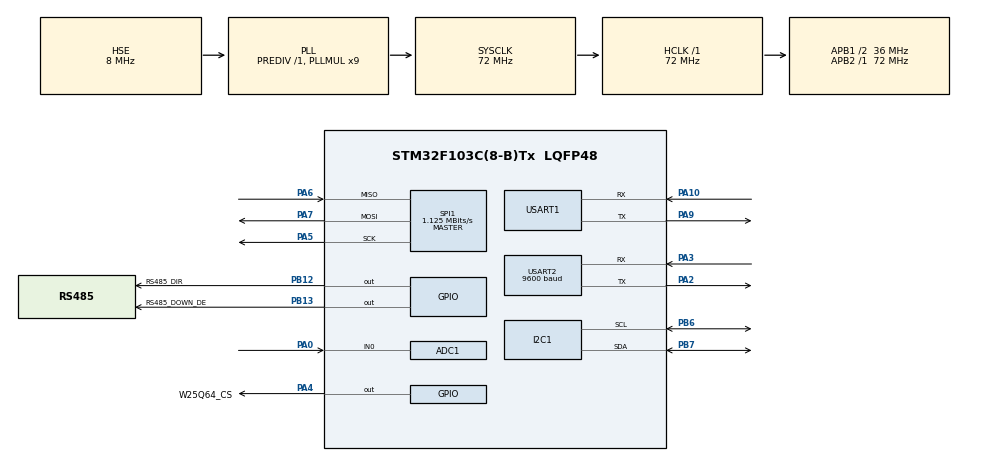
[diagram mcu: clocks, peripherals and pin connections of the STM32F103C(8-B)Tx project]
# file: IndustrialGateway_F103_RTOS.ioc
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ADC1.Channel-1\#ChannelRegularConversion=ADC_CHANNEL_0
ADC1.NbrOfConversionFlag=1
ADC1.Rank-1\#ChannelRegularConversion=1
ADC1.SamplingTime-1\#ChannelRegularConversion=ADC_SAMPLETIME_55CYCLES_5
ADC1.master=1
Dma.Request0=USART1_RX
Dma.USART1_RX.0.Direction=DMA_PERIPH_TO_MEMORY
Dma.USART1_RX.0.Instance=DMA1_Channel5
Dma.USART1_RX.0.MemDataAlignment=DMA_MDATAALIGN_BYTE
Dma.USART1_RX.0.MemInc=DMA_MINC_ENABLE
Dma.USART1_RX.0.Mode=DMA_NORMAL
Dma.USART1_RX.0.PeriphDataAlignment=DMA_PDATAALIGN_BYTE
Dma.USART1_RX.0.PeriphInc=DMA_PINC_DISABLE
Dma.USART1_RX.0.Priority=DMA_PRIORITY_LOW
FREERTOS.Tasks01=defaultTask,24,128,StartDefaultTask,Default,NULL,Dynamic,NULL,NULL;SensorTask,24,128,StartSensorTask,Default,NULL,Dynamic,NULL,NULL;DisplayTask,24,256,StartDisplayTask,Default,NULL,Dynamic,NULL,NULL;CommTask,24,256,StartCommTask,Default,NULL,Dynamic,NULL,NULL;LogTask,8,256,StartLogTask,Default,NULL,Dynamic,NULL,NULL
FREERTOS.configTOTAL_HEAP_SIZE=8192
Mcu.Family=STM32F1
Mcu.Name=STM32F103C(8-B)Tx
Mcu.Package=LQFP48
NVIC.DMA1_Channel5_IRQn=true\:5\:0\:false\:false\:true\:true\:false\:true\:true
NVIC.PriorityGroup=NVIC_PRIORITYGROUP_4
NVIC.TIM4_IRQn=true\:15\:0\:false\:false\:true\:false\:false\:true\:true
NVIC.TimeBase=TIM4_IRQn
NVIC.TimeBaseIP=TIM4
NVIC.USART1_IRQn=true\:5\:0\:false\:false\:true\:true\:true\:true\:true
PA0-WKUP.Signal=ADCx_IN0
PA10.Mode=Asynchronous
PA10.Signal=USART1_RX
PA13.Mode=Serial_Wire
PA13.Signal=SYS_JTMS-SWDIO
PA14.Mode=Serial_Wire
PA14.Signal=SYS_JTCK-SWCLK
PA2.Mode=Asynchronous
PA2.Signal=USART2_TX
PA3.Mode=Asynchronous
PA3.Signal=USART2_RX
PA4.GPIO_Label=W25Q64_CS
PA4.GPIO_Speed=GPIO_SPEED_FREQ_LOW
PA4.PinState=GPIO_PIN_SET
PA4.Signal=GPIO_Output
PA5.Mode=Full_Duplex_Master
PA5.Signal=SPI1_SCK
PA6.Mode=Full_Duplex_Master
PA6.Signal=SPI1_MISO
PA7.Mode=Full_Duplex_Master
PA7.Signal=SPI1_MOSI
PA9.Mode=Asynchronous
PA9.Signal=USART1_TX
PB12.GPIO_Label=RS485_DIR
PB12.GPIO_ModeDefaultOutputPP=GPIO_MODE_OUTPUT_PP
PB12.Signal=GPIO_Output
PB13.GPIO_Label=RS485_DOWN_DE
PB13.Signal=GPIO_Output
PB6.Mode=I2C
PB6.Signal=I2C1_SCL
PB7.Mode=I2C
PB7.Signal=I2C1_SDA
PD0-OSC_IN.Mode=HSE-External-Oscillator
PD0-OSC_IN.Signal=RCC_OSC_IN
PD1-OSC_OUT.Mode=HSE-External-Oscillator
PD1-OSC_OUT.Signal=RCC_OSC_OUT
ProjectManager.HeapSize=0x200
ProjectManager.StackSize=0x400
ProjectManager.TargetToolchain=MDK-ARM V5.32
RCC.ADCPresc=RCC_ADCPCLK2_DIV6
RCC.AHBFreq_Value=72000000
RCC.APB1CLKDivider=RCC_HCLK_DIV2
RCC.APB1Freq_Value=36000000
RCC.APB1TimFreq_Value=72000000
RCC.APB2Freq_Value=72000000
RCC.APB2TimFreq_Value=72000000
RCC.HCLKFreq_Value=72000000
RCC.PLLMUL=RCC_PLL_MUL9
RCC.PLLSourceVirtual=RCC_PLLSOURCE_HSE
RCC.SYSCLKFreq_VALUE=72000000
RCC.SYSCLKSource=RCC_SYSCLKSOURCE_PLLCLK
RCC.USBFreq_Value=72000000
SH.ADCx_IN0.0=ADC1_IN0,IN0
SPI1.BaudRatePrescaler=SPI_BAUDRATEPRESCALER_64
SPI1.CalculateBaudRate=1.125 MBits/s
SPI1.Direction=SPI_DIRECTION_2LINES
SPI1.Mode=SPI_MODE_MASTER
SPI1.VirtualType=VM_MASTER
USART1.VirtualMode=VM_ASYNC
USART2.BaudRate=9600
USART2.VirtualMode=VM_ASYNC
VP_FREERTOS_VS_CMSIS_V2.Mode=CMSIS_V2
VP_SYS_VS_tim4.Mode=TIM4
board=custom

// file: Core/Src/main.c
/* USER CODE BEGIN Header */
/**
  ******************************************************************************
  * @file           : main.c
  * @brief          : Main program body
  ******************************************************************************
  * @attention
  *
  * Copyright (c) 2026 STMicroelectronics.
  * All rights reserved.
  *
  * This software is licensed under terms that can be found in the LICENSE file
  * in the root directory of this software component.
  * If no LICENSE file comes with this software, it is provided AS-IS.
  *
  ******************************************************************************
  */
/* USER CODE END Header */
#include "main.h"
#include "cmsis_os.h"
#include "adc.h"
#include "dma.h"
#include "i2c.h"
#include "spi.h"
#include "usart.h"
#include "gpio.h"

/* USER CODE BEGIN Includes */
#include "bsp_oled.h"
#include "bsp_w25q64.h"
#include "log_app.h"
/* USER CODE END Includes */

void SystemClock_Config(void);
void MX_FREERTOS_Init(void);

int main(void)
{

  /* MCU Configuration--------------------------------------------------------*/

  /* Reset of all peripherals, Initializes the Flash interface and the Systick. */
  HAL_Init();

  /* Configure the system clock */
  SystemClock_Config();

  /* Initialize all configured peripherals */
  MX_GPIO_Init();
  MX_DMA_Init();
  MX_I2C1_Init();
  MX_USART1_UART_Init();
  MX_ADC1_Init();
  MX_SPI1_Init();
  MX_USART2_UART_Init();
  /* USER CODE BEGIN 2 */
  BSP_OLED_Init();
  BSP_OLED_Clear();

  #define LOG_ACCEPTANCE_ERASE_ON_BOOT  0

  #if LOG_ACCEPTANCE_ERASE_ON_BOOT
  BSP_W25Q64_SectorErase(LOG_START_ADDR);
  #endif

  Log_RebuildRuntimeInfo();
  //LogRuntimeInfo_Init();
  /* USER CODE END 2 */

  /* Init scheduler */
  osKernelInitialize();  /* Call init function for freertos objects (in cmsis_os2.c) */
  MX_FREERTOS_Init();

  /* Start scheduler */
  osKernelStart();

  /* We should never get here as control is now taken by the scheduler */

  /* Infinite loop */
  while (1)
  {

  }
}

void SystemClock_Config(void)
{
  RCC_OscInitTypeDef RCC_OscInitStruct = {0};
  RCC_ClkInitTypeDef RCC_ClkInitStruct = {0};
  RCC_PeriphCLKInitTypeDef PeriphClkInit = {0};

  /** Initializes the RCC Oscillators according to the specified parameters
  * in the RCC_OscInitTypeDef structure.
  */
  RCC_OscInitStruct.OscillatorType = RCC_OSCILLATORTYPE_HSE;
  RCC_OscInitStruct.HSEState = RCC_HSE_ON;
  RCC_OscInitStruct.HSEPredivValue = RCC_HSE_PREDIV_DIV1;
  RCC_OscInitStruct.HSIState = RCC_HSI_ON;
  RCC_OscInitStruct.PLL.PLLState = RCC_PLL_ON;
  RCC_OscInitStruct.PLL.PLLSource = RCC_PLLSOURCE_HSE;
  RCC_OscInitStruct.PLL.PLLMUL = RCC_PLL_MUL9;
  if (HAL_RCC_OscConfig(&RCC_OscInitStruct) != HAL_OK)
  {
    Error_Handler();
  }

  /** Initializes the CPU, AHB and APB buses clocks
  */
  RCC_ClkInitStruct.ClockType = RCC_CLOCKTYPE_HCLK|RCC_CLOCKTYPE_SYSCLK
                              |RCC_CLOCKTYPE_PCLK1|RCC_CLOCKTYPE_PCLK2;
  RCC_ClkInitStruct.SYSCLKSource = RCC_SYSCLKSOURCE_PLLCLK;
  RCC_ClkInitStruct.AHBCLKDivider = RCC_SYSCLK_DIV1;
  RCC_ClkInitStruct.APB1CLKDivider = RCC_HCLK_DIV2;
  RCC_ClkInitStruct.APB2CLKDivider = RCC_HCLK_DIV1;

  if (HAL_RCC_ClockConfig(&RCC_ClkInitStruct, FLASH_LATENCY_2) != HAL_OK)
  {
    Error_Handler();
  }
  PeriphClkInit.PeriphClockSelection = RCC_PERIPHCLK_ADC;
  PeriphClkInit.AdcClockSelection = RCC_ADCPCLK2_DIV6;
  if (HAL_RCCEx_PeriphCLKConfig(&PeriphClkInit) != HAL_OK)
  {
    Error_Handler();
  }
}

void HAL_TIM_PeriodElapsedCallback(TIM_HandleTypeDef *htim)
{
  if (htim->Instance == TIM4)
  {
    HAL_IncTick();
  }
}

void Error_Handler(void)
{
  __disable_irq();
  while (1)
  {
  }
}

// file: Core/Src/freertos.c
/* USER CODE BEGIN Header */
/**
  ******************************************************************************
  * File Name          : freertos.c
  * Description        : Code for freertos applications
  ******************************************************************************
  * @attention
  *
  * Copyright (c) 2026 STMicroelectronics.
  * All rights reserved.
  *
  * This software is licensed under terms that can be found in the LICENSE file
  * in the root directory of this software component.
  * If no LICENSE file comes with this software, it is provided AS-IS.
  *
  ******************************************************************************
  */
/* USER CODE END Header */

#include "FreeRTOS.h"
#include "task.h"
#include "main.h"
#include "cmsis_os.h"

/* USER CODE BEGIN Includes */
#include "bsp_oled.h"
#include "usart.h"
#include "stdio.h"
#include "string.h"
#include "adc.h"
#include "queue.h"
#include "semphr.h"
#include "bsp_rs485.h"
#include "log_app.h"
#include "bsp_w25q64.h"
#include "event_groups.h"
#include "timers.h"
#include "protocol.h"
#include "modbus_rtu.h"
#include "bsp_rs485_down.h"
#include "cws91.h"
#include "downstream_data.h"
/* USER CODE END Includes */

/* USER CODE BEGIN PTD */
typedef struct
{
  uint32_t adc_value;
  uint32_t sample_count;
}SensorData_t;

/* USER CODE END PTD */

/* USER CODE BEGIN PD */
#define UART_DMA_RX_BUF_SIZE    64
#define CMD_GET_DOWNSTREAM_STATUS           0x07
#define CMD_RESP_DOWNSTREAM_STATUS          0x87

#define PROTOCOL_LEN_GET_DOWNSTREAM_STATUS  0x01
#define PROTOCOL_LEN_RESP_DOWNSTREAM_STATUS 0x14

#define FRAME_LEN_RESP_DOWNSTREAM_STATUS    25

/* Protocol frame head */
#define PROTOCOL_HEAD1              0xAA  /* 帧头�?字节，固定为0xAA */
#define PROTOCOL_HEAD2              0x55  /* 帧头�?字节，固定为0x55 */

/* Protocol command */
#define CMD_GET_SENSOR              0x01  /* 主机查询传感器数据的请求命令 */
#define CMD_RESP_SENSOR             0x81  /* 设备返回传感器数据的响应命令 */
#define CMD_RESP_ERROR              0xE0  /* 设备返回协议错误的响应命�?*/

#define CMD_GET_LOG                 0x02
#define CMD_RESP_LOG                0x82
/* Protocol LEN field: length of CMD + DATA */
#define PROTOCOL_LEN_GET_SENSOR     0x01  /* 请求帧LEN字段：CMD+DATA�?字节，只有CMD */
#define PROTOCOL_LEN_RESP_SENSOR    0x05  /* 正常响应LEN字段：CMD+DATA�?字节 */
#define PROTOCOL_LEN_RESP_ERROR     0x02  /* 错误响应LEN字段：CMD+DATA�?字节 */
#define PROTOCOL_LEN_RESP_LOG       0x0B
#define PROTOCOL_CRC_LEN            2     /* CRC16字段长度：CRC_L和CRC_H�?字节 */
#define PROTOCOL_LEN_GET_LOG        0x05
#define PROTOCOL_LEN_GET_DEVICE_INFO    0x01

/* Whole frame length */
#define FRAME_LEN_GET_SENSOR        6   /* 请求整帧长度：帧�?+LEN1+CMD1+CRC2 */
#define FRAME_LEN_RESP_SENSOR       10    /* 正常响应整帧长度：帧�?+LEN1+CMD/DATA5+CRC2 */
#define FRAME_LEN_RESP_ERROR        7     /* 错误响应整帧长度：帧�?+LEN1+CMD/DATA2+CRC2 */
#define FRAME_LEN_GET_LOG           10
#define FRAME_LEN_RESP_LOG          16

/* Error code */
#define ERR_CODE_HEAD               0x01  /* 错误码：帧头错误 */
#define ERR_CODE_LEN                0x02  /* 错误码：LEN字段错误 */
#define ERR_CODE_CMD                0x03  /* 错误码：CMD命令错误 */
#define ERR_CODE_CHECK              0x04  /* 错误码：CRC16校验错误 */
#define ERR_CODE_LOG_INVALID        0x05
/* Protocol check result */
#define PROTOCOL_OK                 0x00  /* 协议检查通过，无错误 */

/*Event */
#define EVENT_COMM_OK               (1 << 0)
#define EVENT_PROTOCOL_ERR          (1 << 1)

/* USER CODE END PD */

/* USER CODE BEGIN Variables */
QueueHandle_t DisplayDataQueue;
QueueHandle_t CommDataQueue;
QueueHandle_t LogQueue;

TaskHandle_t CommTaskHandle_RTOS = NULL;

SemaphoreHandle_t OLEDMutex;
SemaphoreHandle_t UARTMutex;

EventGroupHandle_t SystemEventGroup;

TimerHandle_t CommTimeoutTimer;

uint32_t sensor_count = 0;
uint32_t display_count = 0;
uint32_t comm_count = 0;
uint32_t sensor_value = 0;
uint32_t test_count = 0;
//uint8_t modbus_rx_buf[9];
//HAL_StatusTypeDef modbus_rx_ret;
//uint32_t modbus_rx_ok_count = 0;
//uint32_t modbus_rx_fail_count = 0;
uint8_t modbus_tx_buf[8];
uint16_t modbus_tx_len;
uint8_t modbus_rx_buf[9];
HAL_StatusTypeDef modbus_rx_ret;
uint8_t modbus_check_ret;
uint8_t cws91_parse_ret;

int16_t cws91_temp_x10 = 0;
uint16_t cws91_hum_x10 = 0;

uint8_t uart_dma_rx_buf[UART_DMA_RX_BUF_SIZE];
volatile uint16_t uart_rx_len = 0;

SensorData_t sensor_data = {0,0};
SensorData_t display_data = {0,0};
SensorData_t comm_data = {0,0};

/* USER CODE END Variables */
/* Definitions for defaultTask */
osThreadId_t defaultTaskHandle;
const osThreadAttr_t defaultTask_attributes = {
  .name = "defaultTask",
  .stack_size = 128 * 4,
  .priority = (osPriority_t) osPriorityNormal,
};
/* Definitions for SensorTask */
osThreadId_t SensorTaskHandle;
const osThreadAttr_t SensorTask_attributes = {
  .name = "SensorTask",
  .stack_size = 128 * 4,
  .priority = (osPriority_t) osPriorityNormal,
};
/* Definitions for DisplayTask */
osThreadId_t DisplayTaskHandle;
const osThreadAttr_t DisplayTask_attributes = {
  .name = "DisplayTask",
  .stack_size = 256 * 4,
  .priority = (osPriority_t) osPriorityNormal,
};
/* Definitions for CommTask */
osThreadId_t CommTaskHandle;
const osThreadAttr_t CommTask_attributes = {
  .name = "CommTask",
  .stack_size = 256 * 4,
  .priority = (osPriority_t) osPriorityNormal,
};
/* Definitions for LogTask */
osThreadId_t LogTaskHandle;
const osThreadAttr_t LogTask_attributes = {
  .name = "LogTask",
  .stack_size = 256 * 4,
  .priority = (osPriority_t) osPriorityLow,
};

/* USER CODE BEGIN FunctionPrototypes */
void Protocol_SendError(uint8_t err_code);
void Protocol_SendSensorResponse(SensorData_t sensor_data);
uint8_t Protocol_CheckRequest(uint8_t *rx_buf);
uint16_t Protocol_CalcCRC16(uint8_t *data, uint16_t len);
static void CommTask_SendQueryOkLog(SensorData_t sensor);
void Protocol_SendLogResponse(LogData_t read_log);
void Comm_RxStartDMA(void);
void HAL_UARTEx_RxEventCallback(UART_HandleTypeDef *huart, uint16_t Size);
static const char* SystemStatus_GetText(EventBits_t bits);
void CommTimeoutTimerCallback(TimerHandle_t xTimer);
//uint8_t Protocol_CalcXor(uint8_t* data,uint8_t len);
/* USER CODE END FunctionPrototypes */

void StartDefaultTask(void *argument);
void StartSensorTask(void *argument);
void StartDisplayTask(void *argument);
void StartCommTask(void *argument);
void StartLogTask(void *argument);
static void Protocol_SendDownstreamDataResponse(DownstreamData_t *data);
static void OLED_ShowSignedX10(uint8_t x, uint8_t y, int16_t value);
static void OLED_ShowUnsignedX10(uint8_t x, uint8_t y, uint16_t value);
static void Protocol_SendDownstreamStatusResponse(DownstreamData_t *data);
void MX_FREERTOS_Init(void); /* (MISRA C 2004 rule 8.1) */

void MX_FREERTOS_Init(void) {
  /* USER CODE BEGIN Init */
  //LogRuntimeInfo_Init();
  DownstreamData_Init();
  /* USER CODE END Init */

  /* USER CODE BEGIN RTOS_MUTEX */
  /* add mutexes, ... */
  OLEDMutex = xSemaphoreCreateMutex();
  UARTMutex = xSemaphoreCreateMutex();
  /* USER CODE END RTOS_MUTEX */

  /* USER CODE BEGIN RTOS_TIMERS */
  /* start timers, add new ones, ... */
  CommTimeoutTimer = xTimerCreate("CommTimeout",pdMS_TO_TICKS(3000),pdFALSE,NULL,CommTimeoutTimerCallback);
  if(CommTimeoutTimer == NULL)
  {

  }
  /* USER CODE END RTOS_TIMERS */

  /* USER CODE BEGIN RTOS_QUEUES */
  /* add queues, ... */
  DisplayDataQueue = xQueueCreate(5,sizeof(SensorData_t));
  CommDataQueue = xQueueCreate(5,sizeof(SensorData_t));
  LogQueue = xQueueCreate(5,sizeof(LogData_t));
  /* USER CODE END RTOS_QUEUES */

  /* Create the thread(s) */
  /* creation of defaultTask */
  defaultTaskHandle = osThreadNew(StartDefaultTask, NULL, &defaultTask_attributes);

  /* creation of SensorTask */
  SensorTaskHandle = osThreadNew(StartSensorTask, NULL, &SensorTask_attributes);

  /* creation of DisplayTask */
  DisplayTaskHandle = osThreadNew(StartDisplayTask, NULL, &DisplayTask_attributes);

  /* creation of CommTask */
  CommTaskHandle = osThreadNew(StartCommTask, NULL, &CommTask_attributes);

  /* creation of LogTask */
  LogTaskHandle = osThreadNew(StartLogTask, NULL, &LogTask_attributes);

  /* USER CODE BEGIN RTOS_THREADS */
  /* add threads, ... */
    CommTaskHandle_RTOS = (TaskHandle_t)CommTaskHandle;
  /* USER CODE END RTOS_THREADS */

  /* USER CODE BEGIN RTOS_EVENTS */
  /* add events, ... */
  SystemEventGroup = xEventGroupCreate();
  if (SystemEventGroup == NULL)
  {

  }

  /* USER CODE END RTOS_EVENTS */

}

void StartDefaultTask(void *argument)
{
  /* USER CODE BEGIN StartDefaultTask */
  uint8_t retry;
  uint8_t poll_ok;
  uint8_t err_code;

  for(;;)
  {
    poll_ok = 0;
    err_code = DOWN_ERR_TIMEOUT;

    DownstreamData_OnPollStart(DOWNSTREAM_CWS91_ID);

    for (retry = 0; retry <= DOWNSTREAM_RETRY_COUNT; retry++)
    {
      modbus_tx_len = Modbus_BuildReadHoldingRegsReq(DOWNSTREAM_CWS91_ID, 0x0000, 0x0002, modbus_tx_buf);

      memset(modbus_rx_buf, 0, sizeof(modbus_rx_buf));

      BSP_RS485_Down_SendBytes(modbus_tx_buf, modbus_tx_len);

      modbus_rx_ret = HAL_UART_Receive(&huart2, modbus_rx_buf, 9, 300);

      if (modbus_rx_ret == HAL_OK)
      {
        modbus_check_ret = Modbus_CheckReadHoldingRegsResp(modbus_rx_buf, 9);

        if (modbus_check_ret == MODBUS_OK)
        {
          cws91_parse_ret = CWS91_ParseTempHum(modbus_rx_buf, &cws91_temp_x10, &cws91_hum_x10);

          if (cws91_parse_ret == MODBUS_OK)
          {
            DownstreamData_UpdateSuccess(DOWNSTREAM_CWS91_ID, cws91_temp_x10, cws91_hum_x10);
            poll_ok = 1;
            break;
          }
          else
          {
            err_code = DOWN_ERR_PARSE;
          }
        }
        else
        {
          err_code = DOWN_ERR_CRC;
        }
      }
      else
      {
        err_code = DOWN_ERR_TIMEOUT;
      }

      osDelay(50);
    }

    if (poll_ok == 0)
    {
      DownstreamData_UpdateFail(DOWNSTREAM_CWS91_ID, err_code);
    }

    osDelay(1000);
  }
  /* USER CODE END StartDefaultTask */
}
void StartSensorTask(void *argument)
{
  /* USER CODE BEGIN StartSensorTask */
  /* Infinite loop */
  for(;;)
  {
    sensor_count++;
    HAL_ADC_Start(&hadc1);
    if (HAL_ADC_PollForConversion(&hadc1,100) == HAL_OK)
    {
      sensor_data.sample_count = sensor_count;
      sensor_value = HAL_ADC_GetValue(&hadc1);
      sensor_data.adc_value = sensor_value;
      xQueueSend(DisplayDataQueue,&sensor_data,0);
      xQueueSend(CommDataQueue,&sensor_data,0);
    }
    osDelay(500);
  }
  /* USER CODE END StartSensorTask */
}

void StartDisplayTask(void *argument)
{
  /* USER CODE BEGIN StartDisplayTask */
  /* Infinite loop */
  /*
  if(xSemaphoreTake(OLEDMutex,pdMS_TO_TICKS(100)) == pdPASS)
  {
    BSP_OLED_ShowString(0,0,"V1 RUN");
    BSP_OLED_ShowString(0, 2, "CNT:");
    BSP_OLED_ShowString(0, 4, "ADC:");
    BSP_OLED_ShowString(0, 6, "STAT:");
    xSemaphoreGive(OLEDMutex);
  }
  */
  SensorData_t latest_display_data = {0, 0};
  DownstreamData_t down_data;
  for(;;)
  {
    while (xQueueReceive(DisplayDataQueue, &display_data, 0) == pdPASS)
    {
      latest_display_data = display_data;
    }
    DownstreamData_GetSnapshot(&down_data);
    /*
    EventBits_t bits;
    const char* status_text;

    bits = xEventGroupGetBits(SystemEventGroup);
    status_text = SystemStatus_GetText(bits);

    if(xQueueReceive(DisplayDataQueue,&display_data,portMAX_DELAY) == pdPASS)
    {
      display_count++;
      */
      if(xSemaphoreTake(OLEDMutex,pdMS_TO_TICKS(100)) == pdPASS)
      {
      BSP_OLED_ClearLine(0);
      BSP_OLED_ShowString(0, 0, "V11 GATEWAY");

      BSP_OLED_ClearLine(2);
      BSP_OLED_ShowString(0, 2, "ADC:");
      BSP_OLED_ShowNum(4, 2, latest_display_data.adc_value, 4);
      BSP_OLED_ShowString(9, 2, "CNT:");
      BSP_OLED_ShowNum(13, 2, latest_display_data.sample_count % 1000, 3);

      BSP_OLED_ClearLine(4);
      if (down_data.valid)
      {
        BSP_OLED_ShowString(0, 4, "T:");
        OLED_ShowSignedX10(2, 4, down_data.temp_x10);
        BSP_OLED_ShowString(8, 4, "H:");
        OLED_ShowUnsignedX10(10, 4, down_data.hum_x10);
      }
      else
      {
        BSP_OLED_ShowString(0, 4, "NO DOWN DATA");
      }

      BSP_OLED_ClearLine(6);
      BSP_OLED_ShowString(0, 6, "UPD:");
      BSP_OLED_ShowNum(4, 6, down_data.update_count, 5);
      if (down_data.valid)
      {
        BSP_OLED_ShowString(10, 6, "VALID");
      }
      else
      {
        BSP_OLED_ShowString(10, 6, "EMPTY");
      }
        /*
        BSP_OLED_ShowNum(6,2,display_data.sample_count,5);
        BSP_OLED_ShowNum(6,4,display_data.adc_value,5);
        BSP_OLED_ShowString(6,6,status_text);
        */
        xSemaphoreGive(OLEDMutex);
      }

    //}
    osDelay(500);
  }
  /* USER CODE END StartDisplayTask */
}

void StartCommTask(void *argument)
{
  /* USER CODE BEGIN StartCommTask */
  /* Infinite loop */
  uint8_t rx_buf[FRAME_LEN_GET_LOG]= {0};
  SensorData_t latest_comm_data = {0,0};
  Comm_RxStartDMA();
  for(;;)
  {
    comm_count++;

    ulTaskNotifyTake(pdTRUE,portMAX_DELAY);

    while (xQueueReceive(CommDataQueue,&comm_data,0) == pdPASS)
    {
      latest_comm_data = comm_data;
    }

    if (uart_rx_len < 6 || uart_rx_len > FRAME_LEN_GET_LOG)
    {
      Comm_RxStartDMA();
      continue;
    }
    memset(rx_buf, 0, sizeof(rx_buf));
    memcpy(rx_buf,uart_dma_rx_buf,uart_rx_len);

    uint8_t len = rx_buf[2];
    uint16_t frame_len = len + 5;

    if(uart_rx_len != frame_len)
    {
      Comm_RxStartDMA();
      continue;
    }
          if(xSemaphoreTake(UARTMutex,pdMS_TO_TICKS(100)) == pdPASS)
          {
            uint8_t protocol_ret = Protocol_CheckRequest(rx_buf);

            if(protocol_ret == PROTOCOL_OK)
            {
              xEventGroupSetBits(SystemEventGroup,EVENT_COMM_OK);
              xEventGroupClearBits(SystemEventGroup,EVENT_PROTOCOL_ERR);

              xTimerReset(CommTimeoutTimer,0);

              if(rx_buf[3] == CMD_GET_SENSOR)
              {
                Protocol_SendSensorResponse(latest_comm_data);
                CommTask_SendQueryOkLog(latest_comm_data);
              }
              else if (rx_buf[3] == CMD_GET_LOG)
              {
                uint32_t query_seq = 0;
                uint32_t log_addr;
                query_seq = ((uint32_t)rx_buf[4] << 24) |
                            ((uint32_t)rx_buf[5] << 16) |
                            ((uint32_t)rx_buf[6] << 8)  |
                            ((uint32_t)rx_buf[7]);
                if (query_seq >= LOG_MAX_COUNT)
                {
                  Protocol_SendError(ERR_CODE_LOG_INVALID);
                }
                else
                {
                  log_addr = Log_CalcAddr(query_seq);

                  LogData_t read_log;

                  BSP_W25Q64_ReadData(log_addr,(uint8_t*)&read_log,sizeof(LogData_t));
                  if (Log_IsValid(&read_log) != 1 )
                  {
                    Protocol_SendError(ERR_CODE_LOG_INVALID);
                  }
                  else
                  {
                    Protocol_SendLogResponse(read_log);
                  }
                }
              }
              else if (rx_buf[3] == CMD_GET_DEVICE_INFO)
              {
                Protocol_SendDeviceInfo();
              }
              else if (rx_buf[3] == CMD_GET_LOG_INFO)
              {
                LogRuntimeInfo_t log_info;

                LogRuntimeInfo_GetSnapshot(&log_info);
                Protocol_SendLogInfo(log_info);
              }
              else if (rx_buf[3] == CMD_GET_DOWNSTREAM_DATA)
              {
                DownstreamData_t down_data;

                DownstreamData_GetSnapshot(&down_data);
                Protocol_SendDownstreamDataResponse(&down_data);
              }
              else if (rx_buf[3] == CMD_GET_DOWNSTREAM_STATUS)
              {
                DownstreamData_t down_data;

                DownstreamData_GetSnapshot(&down_data);
                Protocol_SendDownstreamStatusResponse(&down_data);
              }
              else if (rx_buf[3] == CMD_CLEAR_LOG)
              {
                if (rx_buf[4] == 'C' && rx_buf[5] == 'L' && rx_buf[6] == 'R' && rx_buf[7] == '!' )
                {
                  BSP_W25Q64_SectorErase(LOG_START_ADDR);

                  LogRuntimeInfo_Init();

                  Protocol_SendClearLogResponse(0x00);
                }
                else
                {
                  Protocol_SendClearLogResponse(0x01);
                }
              }

            }
            else
            {
              xEventGroupSetBits(SystemEventGroup,EVENT_PROTOCOL_ERR);
              xEventGroupClearBits(SystemEventGroup,EVENT_COMM_OK);

              Protocol_SendError(protocol_ret);
            }
            xSemaphoreGive(UARTMutex);
          }
            Comm_RxStartDMA();

    osDelay(10);
  }
  /* USER CODE END StartCommTask */
}

void StartLogTask(void *argument)
{
  /* USER CODE BEGIN StartLogTask */
  /* Infinite loop */
  LogData_t log;
  for(;;)
  {
    while (xQueueReceive(LogQueue,&log,portMAX_DELAY) == pdPASS)
    {
      Log_SaveOne(&log);
    }

    osDelay(1);
  }
  /* USER CODE END StartLogTask */
}

/* USER CODE BEGIN Application */
uint8_t Protocol_CheckRequest(uint8_t *rx_buf)
{
  uint16_t crc_calc;
  uint16_t crc_recv;

  if(rx_buf[0] != PROTOCOL_HEAD1 || rx_buf[1] != PROTOCOL_HEAD2)
  {
    return ERR_CODE_HEAD;
  }
  if (rx_buf[3] == CMD_GET_SENSOR)
  {
    if (rx_buf[2] != PROTOCOL_LEN_GET_SENSOR)
    {
      return ERR_CODE_LEN;
    }
  }
  else if (rx_buf[3] == CMD_GET_LOG)
  {
    if (rx_buf[2] != PROTOCOL_LEN_GET_LOG)
    {
      return ERR_CODE_LEN;
    }
  }
  else if (rx_buf[3] == CMD_GET_DEVICE_INFO)
  {
    if (rx_buf[2] != PROTOCOL_LEN_GET_DEVICE_INFO)
    {
      return ERR_CODE_LEN;
    }

  }
  else if (rx_buf[3] == CMD_GET_LOG_INFO)
  {
    if (rx_buf[2] != PROTOCOL_LEN_GET_LOG_INFO)
    {
      return ERR_CODE_LEN;
    }
  }
  else if (rx_buf[3] == CMD_GET_DOWNSTREAM_DATA)
  {
    if (rx_buf[2] != PROTOCOL_LEN_GET_DOWNSTREAM_DATA)
    {
      return ERR_CODE_LEN;
    }
  }
  else if (rx_buf[3] == CMD_GET_DOWNSTREAM_STATUS)
  {
    if (rx_buf[2] != PROTOCOL_LEN_GET_DOWNSTREAM_STATUS)
    {
      return ERR_CODE_LEN;
    }
  }
  else if (rx_buf[3] == CMD_CLEAR_LOG)
  {
    if (rx_buf[2] != PROTOCOL_LEN_CLEAR_LOG)
    {
      return ERR_CODE_LEN;
    }

  }

  else
  {
    return ERR_CODE_CMD;
  }
  crc_calc = Protocol_CalcCRC16(&rx_buf[2], rx_buf[2] + 1);
  crc_recv = (uint16_t)rx_buf[3 + rx_buf[2]] | ((uint16_t)rx_buf[4+ rx_buf[2]] << 8);

  if (crc_calc != crc_recv)
  {
    return ERR_CODE_CHECK;
  }

  return PROTOCOL_OK;
}
void Protocol_SendSensorResponse(SensorData_t sensor_data)
{
  uint8_t tx_frame[FRAME_LEN_RESP_SENSOR];
  uint16_t cnt;
  uint16_t adc;
  uint16_t crc;
  cnt = sensor_data.sample_count;
  adc = sensor_data.adc_value;

  tx_frame[0] = PROTOCOL_HEAD1;
  tx_frame[1] = PROTOCOL_HEAD2;
  tx_frame[2] = PROTOCOL_LEN_RESP_SENSOR;
  tx_frame[3] = CMD_RESP_SENSOR;

  tx_frame[4] = cnt>>8;
  tx_frame[5] = cnt & 0xFF;
  tx_frame[6] = adc>>8;
  tx_frame[7] = adc & 0xFF;
  crc = Protocol_CalcCRC16(&tx_frame[2],PROTOCOL_LEN_RESP_SENSOR + 1);
  tx_frame[8] = crc & 0xFF;
  tx_frame[9] = crc>>8;
  BSP_RS485_SendBytes(tx_frame,FRAME_LEN_RESP_SENSOR);
}
void Protocol_SendError(uint8_t err_code)
{
  uint8_t err_frame[FRAME_LEN_RESP_ERROR];
  uint16_t crc;

  err_frame[0] = PROTOCOL_HEAD1;
  err_frame[1] = PROTOCOL_HEAD2;
  err_frame[2] = PROTOCOL_LEN_RESP_ERROR;
  err_frame[3] = CMD_RESP_ERROR;
  err_frame[4] = err_code;
  crc = Protocol_CalcCRC16(&err_frame[2],PROTOCOL_LEN_RESP_ERROR + 1);
  err_frame[5] = crc & 0xFF;
  err_frame[6] = crc>>8;

  BSP_RS485_SendBytes(err_frame,FRAME_LEN_RESP_ERROR);

}
/*
uint8_t Protocol_CalcXor(uint8_t*data,uint8_t len)
{
  uint8_t check = 0;
  uint8_t i;
  for(i = 0; i < len ; i++)
  {
    check ^= data[i];
  }
  return check;
}
*/

/*
uint16_t Protocol_CalcCRC16(uint8_t *data, uint16_t len)
{
  uint16_t crc = 0xFFFF;
  uint16_t i;
  uint8_t j;
  for(i = 0; i < len ; i++)
  {
    crc ^= data[i];
    for(j = 0; j < 8 ; j++)
    {
      if(crc & 0x0001)
      {
        crc = (crc>>1) ^ 0xA001;
      }
      else
      {
        crc = (crc>>1);
      }
    }
  }
  return crc;
}
*/

static void CommTask_SendQueryOkLog(SensorData_t sensor)
{

  LogData_t log;
  memset(&log, 0, sizeof(log));
  uint32_t seq;

  seq = LogRuntimeInfo_GetNextSeq();
  if (seq >= LOG_MAX_COUNT)
  {
    return;
  }
  log.seq = seq;
  log.type = LOG_TYPE_QUERY_OK;
  log.cnt = sensor.sample_count;
  log.adc = sensor.adc_value;
  log.err_code = 0;
  log.source = LOG_SOURCE_LOCAL;
  log.target_id = LOG_TARGET_NONE;

  if (xQueueSend(LogQueue, &log, 0) == pdPASS)
  {
    LogRuntimeInfo_OnLogAccepted(seq);
  }
}
void Protocol_SendLogResponse(LogData_t read_log)
{
  uint8_t tx_buf[FRAME_LEN_RESP_LOG];
  uint16_t crc;

  tx_buf[0] = PROTOCOL_HEAD1;
  tx_buf[1] = PROTOCOL_HEAD2;
  tx_buf[2] = PROTOCOL_LEN_RESP_LOG;
  tx_buf[3] = CMD_RESP_LOG;

  tx_buf[4] = (uint8_t)(read_log.seq >> 24);
  tx_buf[5] = (uint8_t)(read_log.seq >> 16);
  tx_buf[6] = (uint8_t)(read_log.seq >> 8);
  tx_buf[7] = (uint8_t)(read_log.seq);

  tx_buf[8] = (uint8_t)read_log.type;

  tx_buf[9]  = (uint8_t)(read_log.cnt >> 8);
  tx_buf[10] = (uint8_t)(read_log.cnt);

  tx_buf[11] = (uint8_t)(read_log.adc >> 8);
  tx_buf[12] = (uint8_t)(read_log.adc);

  tx_buf[13] = (uint8_t)read_log.err_code;

  crc = Protocol_CalcCRC16(&tx_buf[2], tx_buf[2] + 1);

  tx_buf[14] = (uint8_t)crc;
  tx_buf[15] = (uint8_t)(crc >> 8);

  BSP_RS485_SendBytes(tx_buf,FRAME_LEN_RESP_LOG);
}

void Comm_RxStartDMA(void)
{
  BSP_RS485_SetRxMode();
  HAL_UARTEx_ReceiveToIdle_DMA(&huart1,uart_dma_rx_buf,UART_DMA_RX_BUF_SIZE);
  __HAL_DMA_DISABLE_IT(huart1.hdmarx,DMA_IT_HT);
}
void HAL_UARTEx_RxEventCallback(UART_HandleTypeDef *huart, uint16_t Size)
{
  BaseType_t xHigherPriorityTaskWoken = pdFALSE;
  if(huart->Instance == USART1)
  {
    uart_rx_len = Size;

    if (CommTaskHandle_RTOS != NULL)
    {
      vTaskNotifyGiveFromISR(CommTaskHandle_RTOS,&xHigherPriorityTaskWoken);
      portYIELD_FROM_ISR(xHigherPriorityTaskWoken);
    }

  }
}
static const char* SystemStatus_GetText(EventBits_t bits)
{
  if (bits & EVENT_COMM_OK)
  {
    return "COMM OK  ";
  }
  if (bits & EVENT_PROTOCOL_ERR)
  {
    return "PROTO ERR ";
  }

  return "IDLE     ";
}
void CommTimeoutTimerCallback(TimerHandle_t xTimer)
{
  xEventGroupClearBits(SystemEventGroup,EVENT_COMM_OK);
}
static void Protocol_SendDownstreamDataResponse(DownstreamData_t *data)
{
  uint8_t tx_buf[FRAME_LEN_RESP_DOWNSTREAM_DATA];
  uint16_t crc;
  uint16_t temp_raw;

  temp_raw = (uint16_t)data->temp_x10;

  tx_buf[0] = PROTOCOL_HEAD1;
  tx_buf[1] = PROTOCOL_HEAD2;
  tx_buf[2] = PROTOCOL_LEN_RESP_DOWNSTREAM_DATA;
  tx_buf[3] = CMD_RESP_DOWNSTREAM_DATA;

  tx_buf[4] = data->target_id;
  tx_buf[5] = data->valid;

  tx_buf[6] = (uint8_t)(temp_raw >> 8);
  tx_buf[7] = (uint8_t)(temp_raw);

  tx_buf[8] = (uint8_t)(data->hum_x10 >> 8);
  tx_buf[9] = (uint8_t)(data->hum_x10);

  tx_buf[10] = (uint8_t)(data->update_count >> 24);
  tx_buf[11] = (uint8_t)(data->update_count >> 16);
  tx_buf[12] = (uint8_t)(data->update_count >> 8);
  tx_buf[13] = (uint8_t)(data->update_count);

  crc = Protocol_CalcCRC16(&tx_buf[2], tx_buf[2] + 1);

  tx_buf[14] = (uint8_t)crc;
  tx_buf[15] = (uint8_t)(crc >> 8);

  BSP_RS485_SendBytes(tx_buf, FRAME_LEN_RESP_DOWNSTREAM_DATA);
}

static void OLED_ShowSignedX10(uint8_t x, uint8_t y, int16_t value)
{
  uint16_t abs_value;

  if (value < 0)
  {
    BSP_OLED_ShowString(x, y, "-");
    abs_value = (uint16_t)(-value);
  }
  else
  {
    BSP_OLED_ShowString(x, y, " ");
    abs_value = (uint16_t)value;
  }

  BSP_OLED_ShowNum(x + 1, y, abs_value / 10, 3);
  BSP_OLED_ShowString(x + 4, y, ".");
  BSP_OLED_ShowNum(x + 5, y, abs_value % 10, 1);
}

static void OLED_ShowUnsignedX10(uint8_t x, uint8_t y, uint16_t value)
{
  BSP_OLED_ShowNum(x, y, value / 10, 3);
  BSP_OLED_ShowString(x + 3, y, ".");
  BSP_OLED_ShowNum(x + 4, y, value % 10, 1);
}
static void Protocol_SendDownstreamStatusResponse(DownstreamData_t *data)
{
  uint8_t tx_buf[FRAME_LEN_RESP_DOWNSTREAM_STATUS];
  uint16_t crc;

  tx_buf[0] = PROTOCOL_HEAD1;
  tx_buf[1] = PROTOCOL_HEAD2;
  tx_buf[2] = PROTOCOL_LEN_RESP_DOWNSTREAM_STATUS;
  tx_buf[3] = CMD_RESP_DOWNSTREAM_STATUS;

  tx_buf[4] = data->target_id;
  tx_buf[5] = data->online;
  tx_buf[6] = data->last_err;

  tx_buf[7]  = (uint8_t)(data->poll_count >> 24);
  tx_buf[8]  = (uint8_t)(data->poll_count >> 16);
  tx_buf[9]  = (uint8_t)(data->poll_count >> 8);
  tx_buf[10] = (uint8_t)(data->poll_count);

  tx_buf[11] = (uint8_t)(data->success_count >> 24);
  tx_buf[12] = (uint8_t)(data->success_count >> 16);
  tx_buf[13] = (uint8_t)(data->success_count >> 8);
  tx_buf[14] = (uint8_t)(data->success_count);

  tx_buf[15] = (uint8_t)(data->timeout_count >> 24);
  tx_buf[16] = (uint8_t)(data->timeout_count >> 16);
  tx_buf[17] = (uint8_t)(data->timeout_count >> 8);
  tx_buf[18] = (uint8_t)(data->timeout_count);

  tx_buf[19] = (uint8_t)(data->crc_err_count >> 24);
  tx_buf[20] = (uint8_t)(data->crc_err_count >> 16);
  tx_buf[21] = (uint8_t)(data->crc_err_count >> 8);
  tx_buf[22] = (uint8_t)(data->crc_err_count);

  crc = Protocol_CalcCRC16(&tx_buf[2], tx_buf[2] + 1);

  tx_buf[23] = (uint8_t)crc;
  tx_buf[24] = (uint8_t)(crc >> 8);

  BSP_RS485_SendBytes(tx_buf, FRAME_LEN_RESP_DOWNSTREAM_STATUS);
}
/* USER CODE END Application */
